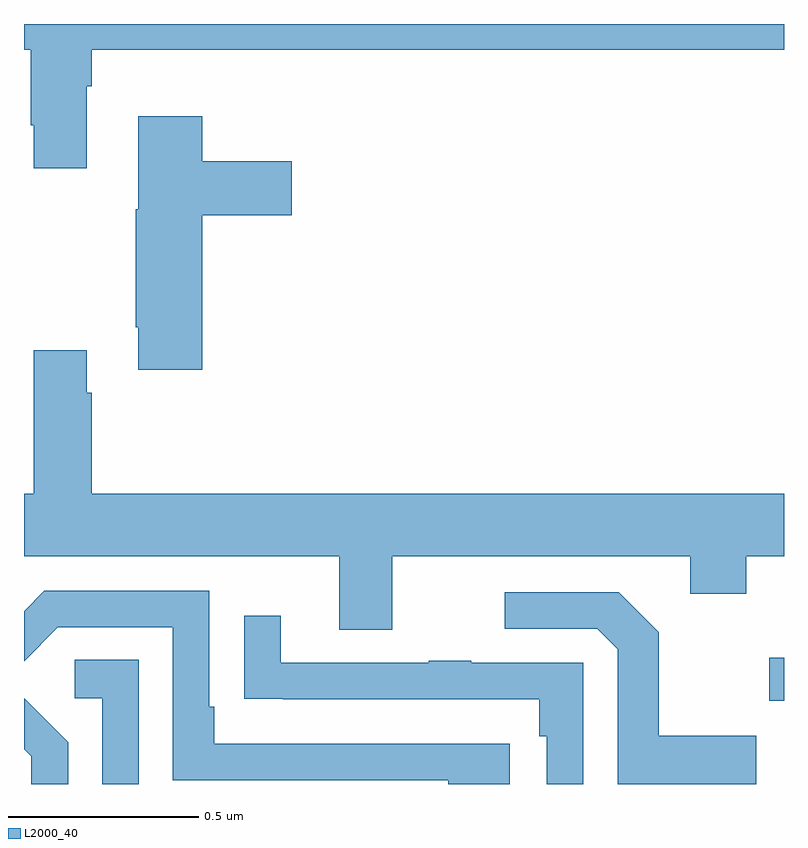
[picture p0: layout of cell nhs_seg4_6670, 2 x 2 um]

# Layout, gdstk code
import gdstk
lib = gdstk.Library(unit=1e-6, precision=1e-09)
def R(c, l, rs):  # rectangles x0, y0, x1, y1
    for r in rs: c.add(gdstk.rectangle(r[:2], r[2:], *l))
def P(c, l, *ps):  # polygons
    for p in ps: c.add(gdstk.Polygon(p, *l))
L2000_40 = (2000, 40)

nhs_seg4_6670 = lib.new_cell('nhs_seg4_6670')
R(nhs_seg4_6670, L2000_40, [(194.961,783.119,195,783.232)])
P(nhs_seg4_6670, L2000_40, [(193.165,784.736),(193.178,784.736),(193.178,784.832),(195,784.832),(195,784.9),(193,784.9),(193,784.832),(193.018,784.832),(193.018,784.633),(193.025,784.633),(193.025,784.521),(193.165,784.521)],
  [(193.469,784.397),(193.705,784.397),(193.705,784.539),(193.469,784.539),(193.469,784.657),(193.301,784.657),(193.301,784.413),(193.294,784.413),(193.294,784.102),(193.301,784.102),(193.301,783.99),(193.469,783.99)],
  [(193.969,783.5),(194.753,783.5),(194.753,783.401),(194.901,783.401),(194.901,783.5),(195,783.5),(195,783.664),(193.178,783.664),(193.178,783.929),(193.165,783.929),(193.165,784.042),(193.025,784.042),(193.025,783.664),(193,783.664),(193,783.5),(193.829,783.5),(193.829,783.306),(193.969,783.306)],
  [(194.278,783.006),(193.501,783.006),(193.501,783.103),(193.488,783.103),(193.488,783.408),(193.053,783.408),(193,783.355),(193,783.223),(193.089,783.312),(193.392,783.312),(193.392,782.91),(194.117,782.91),(194.117,782.9),(194.278,782.9)],
  [(194.927,783.027),(194.671,783.027),(194.671,783.299),(194.565,783.405),(194.265,783.405),(194.265,783.309),(194.508,783.309),(194.562,783.255),(194.562,782.9),(194.927,782.9)],
  [(194.472,783.219),(194.177,783.219),(194.177,783.224),(194.065,783.224),(194.065,783.219),(193.675,783.219),(193.675,783.343),(193.579,783.343),(193.579,783.124),(193.681,783.124),(193.681,783.123),(194.356,783.123),(194.356,783.026),(194.376,783.026),(194.376,782.9),(194.472,782.9)],
  [(193.302,783.227),(193.134,783.227),(193.134,783.126),(193.206,783.126),(193.206,782.9),(193.302,782.9)],
  [(193.116,783.01),(193,783.126),(193,782.992),(193.019,782.973),(193.019,782.9),(193.116,782.9)])

lib.write_gds('nhs_seg4_6670.gds')
